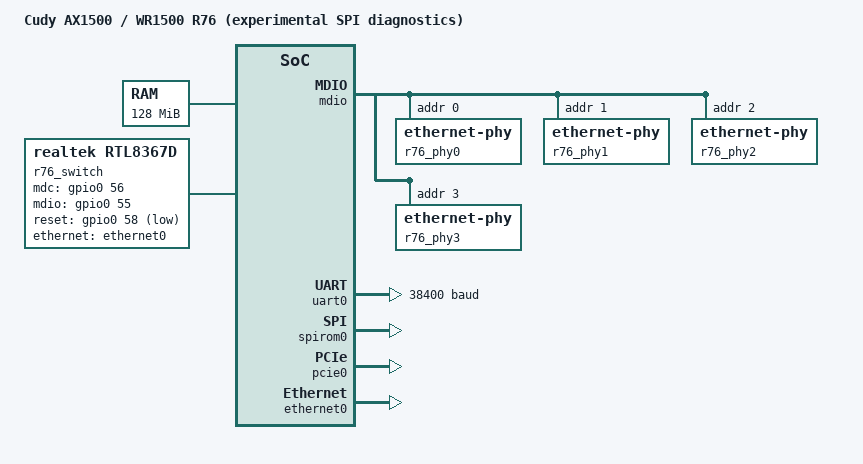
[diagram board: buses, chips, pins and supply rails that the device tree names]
// SPDX-License-Identifier: GPL-2.0-or-later OR MIT
// R76 raw SPI evidence: fullflash-templates/Cudy_AX1500.bin.

#include "rtl8197f_cudy_ax1500.dtsi"
#include <dt-bindings/gpio/gpio.h>

/ {
	compatible = "cudy,ax1500-r76", "cudy,wr1500", "realtek,rtl8197f-vg", "realtek,rtl8197f-soc";
	model = "Cudy AX1500 / WR1500 R76 (experimental SPI diagnostics)";

	/* OEM bootloader and WR1500 hardware report agree on 128 MiB DDR2.
	 * Scope this to R76: RE1500/M1500 retain their diagnostic RAM window.
	 */
	memory@0 {
		reg = <0x00000000 0x08000000>;
	};

	chosen {
		bootargs = "console=ttyS0,38400n8 rdinit=/sbin/init clk_ignore_unused";
		stdout-path = "serial0:38400n8";
	};

	r76_switch: switch {
		compatible = "realtek,rtl8367d", "realtek,rtl8365mb";
		pinctrl-names = "default";
		pinctrl-0 = <&r76_smi_pins>;
		mdc-gpios = <&gpio0 56 GPIO_ACTIVE_HIGH>;
		mdio-gpios = <&gpio0 55 GPIO_ACTIVE_HIGH>;
		reset-gpios = <&gpio0 58 GPIO_ACTIVE_LOW>;
		realtek,disable-leds;
		status = "okay";

		ports {
			#address-cells = <1>;
			#size-cells = <0>;
			port@0 { reg = <0>; label = "lan2"; phy-handle = <&r76_phy0>; };
			port@1 { reg = <1>; label = "lan3"; phy-handle = <&r76_phy1>; };
			port@2 { reg = <2>; label = "wan"; phy-handle = <&r76_phy2>; };
			port@3 { reg = <3>; label = "lan1"; phy-handle = <&r76_phy3>; };
			port@7 {
				reg = <7>;
				label = "cpu";
				ethernet = <&ethernet0>;
				phy-mode = "rgmii";
				tx-internal-delay-ps = <2000>;
				rx-internal-delay-ps = <0>;
				fixed-link { speed = <1000>; full-duplex; pause; };
			};
		};
		mdio {
			compatible = "realtek,smi-mdio";
			#address-cells = <1>;
			#size-cells = <0>;
			r76_phy0: ethernet-phy@0 { reg = <0>; };
			r76_phy1: ethernet-phy@1 { reg = <1>; };
			r76_phy2: ethernet-phy@2 { reg = <2>; };
			r76_phy3: ethernet-phy@3 { reg = <3>; };
		};
	};
};

&pinmux {
	r76_smi_pins: r76-smi-pins {
		/* OEM PIN_MUX_SEL13=0x33320000: retain unrelated pin fields. */
		pinctrl-single,bits = <0x34 0x03300000 0x0ff00000>;
	};
};

&gpio0 {
	/delete-property/ interrupt-controller;
	/delete-property/ #interrupt-cells;
	/delete-property/ interrupt-parent;
	/delete-property/ interrupts;
	status = "okay";
};

&uart0 {
	current-speed = <38400>;
};

/* Read-only auto-map uses the bootloader's existing SPI setup. No active
 * controller commands, GPIO probing or erase/program callbacks are enabled.
 */
&spirom0 {
	reg = <0x10000000 0x01000000>;
	reg-names = "automap";
	/delete-property/ realtek,read-shift;
	realtek,read-shift-probes = <0x40000 0x27051956 0x2b0000 0x68737173>;
	label = "cudy-r76-oem-spi";
	status = "okay";

	partitions {
		compatible = "fixed-partitions";
		#address-cells = <1>;
		#size-cells = <1>;

		/* Prefix prevents automatic OEM rootfs/overlay or firmware splitting
		 * during an OpenWrt initramfs diagnostic boot. Offsets are physical.
		 */
		partition@0 { label = "oem-u-boot"; reg = <0 0x20000>; read-only; };
		partition@20000 { label = "oem-cfg"; reg = <0x20000 0x10000>; read-only; };
		partition@30000 { label = "oem-bdinfo"; reg = <0x30000 0x10000>; read-only; };
		partition@40000 { label = "oem-kernel"; reg = <0x40000 0x270000>; read-only; };
		partition@2b0000 { label = "oem-rootfs"; reg = <0x2b0000 0xc50000>; read-only; };
		partition@f00000 { label = "oem-rootfs_data"; reg = <0xf00000 0xf0000>; read-only; };
		partition@ff0000 { label = "oem-backup"; reg = <0xff0000 0x10000>; read-only; };
	};
};

/* Native WR1500 RTL8832BR G6 module binds the PCI radio. The integrated
 * 8197G radio remains disabled; no MW5/RD05 calibration is assigned.
 */
&pcie0 {
	/* PCI INTx source21 routes through ICTL to CPU5, as on related boards. */
	interrupt-parent = <&intc>;
	interrupts = <21 4>;
	/* Fixed RTL8197F outbound windows: OEM BAR2 is 0x19000004.
	 * PCI bus addresses must equal CPU physical addresses; inheriting
	 * the zero-based generic ranges assigns BAR2 to bus address zero
	 * and causes a data-bus exception at the first RTL8832BR MAC read.
	 */
	ranges = <0x01000000 0 0x18c00000 0x00c00000 0 0x00200000>,
		 <0x02000000 0 0x19000000 0x01000000 0 0x01000000>;
	status = "okay";
};

/* Measured P0-to-MAC7/EXT1 cascade. Linux uses opaque rtl8_4 tags,
 * not the OEM SoC router/4-byte tag parser. No legacy swconfig node.
 */
&ethernet0 {
	realtek,rx-ring-size = <900>;
	realtek,tx-ring-size = <768>;
	realtek,descriptor-dwords = <8>;
	realtek,tx-port-mask = <1>;
	realtek,tx-dp-ext = <0>;
	realtek,tx-extspa = <0>;
	realtek,sdk-crc-lengths;
	realtek,sdk-cpuicr1-init;
	realtek,sdk-swcore-init;
	realtek,sdk-trxrdy;
	realtek,rx-poll-fallback;
	realtek,rx-poll-ms = <50>;
	status = "okay";
};
